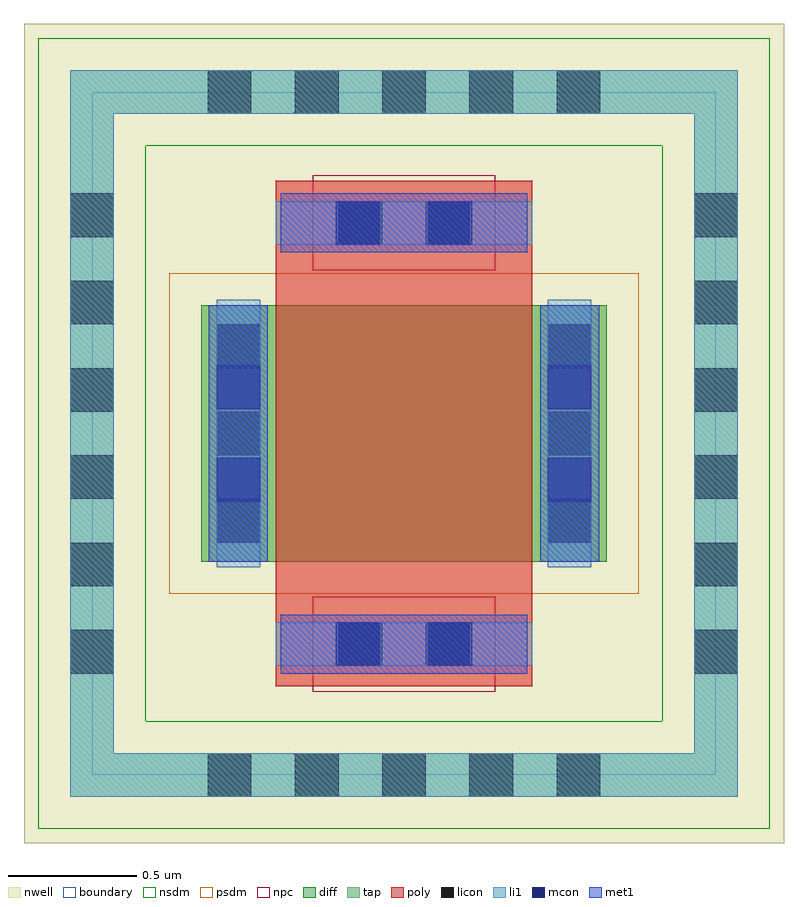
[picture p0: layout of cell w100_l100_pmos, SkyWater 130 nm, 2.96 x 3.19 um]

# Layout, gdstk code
import gdstk
lib = gdstk.Library(unit=1e-6, precision=1e-09)
def R(c, l, rs):  # rectangles x0, y0, x1, y1
    for r in rs: c.add(gdstk.rectangle(r[:2], r[2:], *l))
def A(c, l, x, y, w, h, nx, ny, dx, dy):  # array of equal rectangles
    R(c, l, [(x+i*dx, y+j*dy, x+i*dx+w, y+j*dy+h) for i in range(nx) for j in range(ny)])
nwell = (64, 20)
diff = (65, 20)
tap = (65, 44)
poly = (66, 20)
licon = (66, 44)
li1 = (67, 20)
mcon = (67, 44)
met1 = (68, 20)
nsdm = (93, 44)
psdm = (94, 20)
npc = (95, 20)
boundary = (235, 4)

sky130_fd_pr__pfet_01v8 = lib.new_cell('sky130_fd_pr__pfet_01v8')

w100_l100_pmos = lib.new_cell('w100_l100_pmos')
R(w100_l100_pmos, nwell, [(-1.48,-1.595,1.48,1.595)])
R(w100_l100_pmos, diff, [(-0.79,-0.5,0.79,0.5)])
R(w100_l100_pmos, tap, [(-1.3,-1.415,1.3,-1.245), (-1.3,-1.245,-1.13,1.245), (1.13,-1.245,1.3,1.245), (-1.3,1.245,1.3,1.415)])
R(w100_l100_pmos, poly, [(-0.5,-0.985,0.5,0.985)])
A(w100_l100_pmos, licon, -0.765, -1.415, 0.17, 0.17, 5, 2, 0.34, 2.66)
A(w100_l100_pmos, licon, -1.3, -0.935, 0.17, 0.17, 1, 6, 0, 0.34)
A(w100_l100_pmos, licon, 1.13, -0.935, 0.17, 0.17, 1, 6, 0, 0.34)
A(w100_l100_pmos, licon, -0.73, -0.425, 0.17, 0.17, 1, 3, 0, 0.34)
A(w100_l100_pmos, licon, 0.56, -0.425, 0.17, 0.17, 1, 3, 0, 0.34)
R(w100_l100_pmos, licon, [(-0.255,-0.905,-0.085,-0.735), (0.085,-0.905,0.255,-0.735), (-0.255,0.735,-0.085,0.905), (0.085,0.735,0.255,0.905)])
R(w100_l100_pmos, li1, [(-1.3,-1.415,1.3,-1.245), (-1.3,-1.245,-1.13,1.245), (1.13,-1.245,1.3,1.245), (-0.5,-0.905,0.5,-0.735), (-0.73,-0.52,-0.56,0.52), (0.56,-0.52,0.73,0.52), (-0.5,0.735,0.5,0.905), (-1.3,1.245,1.3,1.415)])
R(w100_l100_pmos, mcon, [(-0.265,-0.905,-0.095,-0.735), (0.095,-0.905,0.265,-0.735), (-0.73,-0.265,-0.56,-0.095), (0.56,-0.265,0.73,-0.095), (-0.73,0.095,-0.56,0.265), (0.56,0.095,0.73,0.265), (-0.265,0.735,-0.095,0.905), (0.095,0.735,0.265,0.905)])
R(w100_l100_pmos, met1, [(-0.48,-0.935,0.48,-0.705), (-0.76,-0.5,-0.53,0.5), (0.53,-0.5,0.76,0.5), (-0.48,0.705,0.48,0.935)])
R(w100_l100_pmos, nsdm, [(-1.425,-1.54,1.425,-1.12), (-1.425,-1.12,-1.005,1.12), (1.005,-1.12,1.425,1.12), (-1.425,1.12,1.425,1.54)])
R(w100_l100_pmos, psdm, [(-0.915,-0.625,0.915,0.625)])
R(w100_l100_pmos, npc, [(-0.355,-1.005,0.355,-0.635), (-0.355,0.635,0.355,1.005)])
R(w100_l100_pmos, boundary, [(-1.215,-1.33,1.215,1.33)])
w100_l100_pmos.add(gdstk.Reference(sky130_fd_pr__pfet_01v8, (0,0)))

lib.write_gds('w100_l100_pmos.gds')
